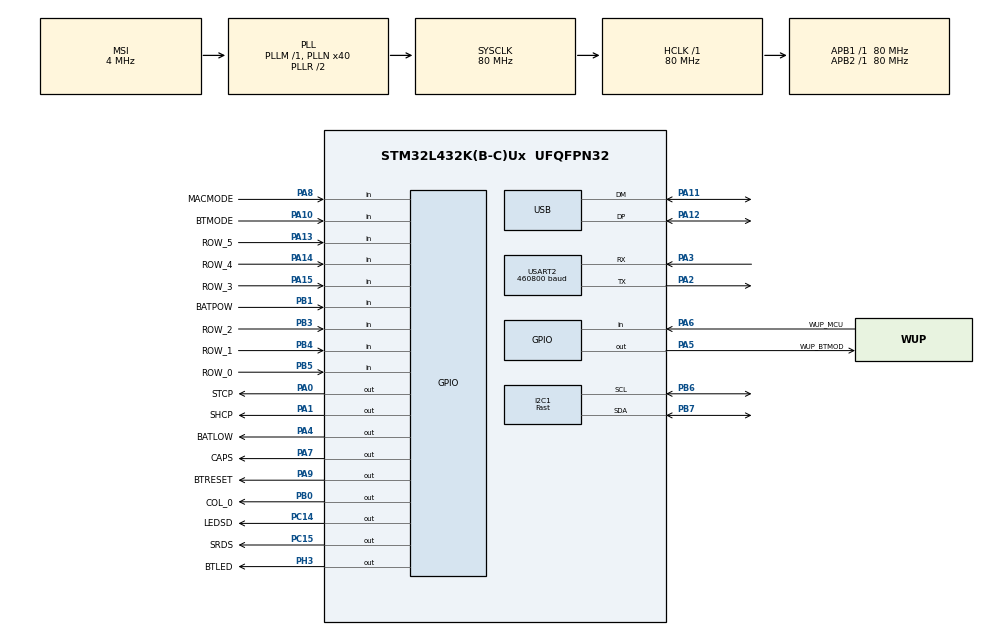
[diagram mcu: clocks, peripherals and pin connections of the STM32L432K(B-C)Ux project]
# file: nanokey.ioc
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I2C1.CustomTiming=Disabled
I2C1.I2C_Speed_Mode=I2C_Fast
I2C1.Timing=0x00F12981
Mcu.Family=STM32L4
Mcu.Name=STM32L432K(B-C)Ux
Mcu.Package=UFQFPN32
NVIC.FLASH_IRQn=true\:0\:0\:true\:false\:true\:true\:true\:true
NVIC.PriorityGroup=NVIC_PRIORITYGROUP_4
NVIC.USART2_IRQn=true\:0\:0\:true\:false\:true\:true\:true\:true
NVIC.USB_IRQn=true\:0\:0\:false\:false\:true\:true\:true\:true
PA0.GPIO_Label=STCP
PA0.Signal=GPIO_Output
PA1.GPIO_Label=SHCP
PA1.Signal=GPIO_Output
PA10.GPIO_Label=BTMODE
PA10.GPIO_PuPd=GPIO_NOPULL
PA10.Signal=GPIO_Input
PA11.Mode=Device
PA11.Signal=USB_DM
PA12.Mode=Device
PA12.Signal=USB_DP
PA13\ (JTMS-SWDIO).GPIO_Label=ROW_5
PA13\ (JTMS-SWDIO).GPIO_PuPd=GPIO_PULLUP
PA13\ (JTMS-SWDIO).Signal=GPIO_Input
PA14\ (JTCK-SWCLK).GPIO_Label=ROW_4
PA14\ (JTCK-SWCLK).GPIO_PuPd=GPIO_PULLUP
PA14\ (JTCK-SWCLK).Signal=GPIO_Input
PA15\ (JTDI).GPIO_Label=ROW_3
PA15\ (JTDI).GPIO_PuPd=GPIO_PULLUP
PA15\ (JTDI).Signal=GPIO_Input
PA2.Mode=Asynchronous
PA2.Signal=USART2_TX
PA3.Mode=Asynchronous
PA3.Signal=USART2_RX
PA4.GPIO_Label=BATLOW
PA4.Signal=GPIO_Output
PA5.GPIO_Label=WUP_BTMOD
PA5.Signal=GPIO_Output
PA6.GPIO_Label=WUP_MCU
PA6.Signal=GPIO_Input
PA7.GPIO_Label=CAPS
PA7.Signal=GPIO_Output
PA8.GPIO_Label=MACMODE
PA8.GPIO_PuPd=GPIO_PULLUP
PA8.Signal=GPIO_Input
PA9.GPIO_Label=BTRESET
PA9.GPIO_ModeDefaultOutputPP=GPIO_MODE_OUTPUT_OD
PA9.GPIO_PuPd=GPIO_PULLUP
PA9.PinState=GPIO_PIN_SET
PA9.Signal=GPIO_Output
PB0.GPIO_Label=COL_0
PB0.GPIO_ModeDefaultOutputPP=GPIO_MODE_OUTPUT_OD
PB0.GPIO_PuPd=GPIO_NOPULL
PB0.GPIO_Speed=GPIO_SPEED_FREQ_VERY_HIGH
PB0.PinState=GPIO_PIN_SET
PB0.Signal=GPIO_Output
PB1.GPIO_Label=BATPOW
PB1.GPIO_PuPd=GPIO_PULLUP
PB1.Signal=GPIO_Input
PB3\ (JTDO-TRACESWO).GPIO_Label=ROW_2
PB3\ (JTDO-TRACESWO).GPIO_PuPd=GPIO_PULLUP
PB3\ (JTDO-TRACESWO).Signal=GPIO_Input
PB4\ (NJTRST).GPIO_Label=ROW_1
PB4\ (NJTRST).GPIO_PuPd=GPIO_PULLUP
PB4\ (NJTRST).Signal=GPIO_Input
PB5.GPIO_Label=ROW_0
PB5.GPIO_PuPd=GPIO_PULLUP
PB5.Signal=GPIO_Input
PB6.Mode=I2C
PB6.Signal=I2C1_SCL
PB7.Mode=I2C
PB7.Signal=I2C1_SDA
PC14-OSC32_IN\ (PC14).GPIO_Label=LEDSD
PC14-OSC32_IN\ (PC14).GPIO_PuPd=GPIO_NOPULL
PC14-OSC32_IN\ (PC14).Signal=GPIO_Output
PC15-OSC32_OUT\ (PC15).GPIO_Label=SRDS
PC15-OSC32_OUT\ (PC15).Signal=GPIO_Output
PH3-BOOT0.GPIO_Label=BTLED
PH3-BOOT0.Signal=GPIO_Output
ProjectManager.HeapSize=0x200
ProjectManager.StackSize=0x400
ProjectManager.TargetToolchain=CMake
RCC.ADCFreq_Value=48000000
RCC.AHBFreq_Value=80000000
RCC.APB1Freq_Value=80000000
RCC.APB1TimFreq_Value=80000000
RCC.APB2Freq_Value=80000000
RCC.APB2TimFreq_Value=80000000
RCC.CortexFreq_Value=80000000
RCC.HCLKFreq_Value=80000000
RCC.HSE_VALUE=8000000
RCC.HSI48_VALUE=48000000
RCC.HSI_VALUE=16000000
RCC.LSE_VALUE=32768
RCC.MSI_VALUE=4000000
RCC.PLLN=40
RCC.PLLSAI1N=24
RCC.SYSCLKFreq_VALUE=80000000
RCC.SYSCLKSource=RCC_SYSCLKSOURCE_PLLCLK
RCC.USBFreq_Value=48000000
RCC.VCOOutputFreq_Value=160000000
USART2.BaudRate=460800
USART2.VirtualMode-Asynchronous=VM_ASYNC
VP_RNG_VS_RNG.Mode=RNG_Activate
board=custom

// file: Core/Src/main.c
/* USER CODE BEGIN Header */
/**
 ******************************************************************************
 * @file           : main.c
 * @brief          : Main program body
 ******************************************************************************
 * @attention
 *
 * Copyright (c) 2025 STMicroelectronics.
 * All rights reserved.
 *
 * This software is licensed under terms that can be found in the LICENSE file
 * in the root directory of this software component.
 * If no LICENSE file comes with this software, it is provided AS-IS.
 *
 ******************************************************************************
 */
/* USER CODE END Header */
#include "main.h"

/* USER CODE BEGIN Includes */

#include "../../firmware.h"
#include "../../hal.h"
#include "../../keyboardhid.h"
#include "usbd_core.h"
#include "usbd_desc.h"

/* USER CODE END Includes */

I2C_HandleTypeDef hi2c1;

RNG_HandleTypeDef hrng;

UART_HandleTypeDef huart2;

PCD_HandleTypeDef hpcd_USB_FS;

/* USER CODE BEGIN PV */
extern USBD_DescriptorsTypeDef FS_Desc;
USBD_HandleTypeDef hUsbDeviceFS;

/* USER CODE END PV */

void SystemClock_Config(void);
void PeriphCommonClock_Config(void);
static void MX_GPIO_Init(void);
static void MX_I2C1_Init(void);
static void MX_RNG_Init(void);
static void MX_USB_PCD_Init(void);
static void MX_USART2_UART_Init(void);

int main(void)
{

    /* MCU Configuration--------------------------------------------------------*/

    /* Reset of all peripherals, Initializes the Flash interface and the Systick. */
    HAL_Init();

    /* Configure the system clock */
    SystemClock_Config();

    /* Configure the peripherals common clocks */
    PeriphCommonClock_Config();

    /* Initialize all configured peripherals */
    MX_GPIO_Init();
    MX_I2C1_Init();
    MX_RNG_Init();
    MX_USB_PCD_Init();
    MX_USART2_UART_Init();
    /* USER CODE BEGIN 2 */

    hUsbDeviceFS.pData = &hpcd_USB_FS;
    hpcd_USB_FS.pData  = &hUsbDeviceFS;

    // Init USB device
    if (USBD_Init(&hUsbDeviceFS, &FS_Desc, DEVICE_FS) != USBD_OK) Error_Handler();
    if (USBD_RegisterClass(&hUsbDeviceFS, &USBD_HID) != USBD_OK) Error_Handler();
    if (USBD_Start(&hUsbDeviceFS) != USBD_OK) Error_Handler();

    setupInstructions inst = {.i2ch = &hi2c1, .rngh = &hrng, .usbdh = &hUsbDeviceFS, .uarth = &huart2};
    startup(inst);

    /* USER CODE END 2 */

    /* Infinite loop */
    while (1)
    {

        /* USER CODE BEGIN 3 */
        loop();
    }

    /* USER CODE END 3 */
}

void SystemClock_Config(void)
{
    RCC_OscInitTypeDef RCC_OscInitStruct = {0};
    RCC_ClkInitTypeDef RCC_ClkInitStruct = {0};

    /** Configure the main internal regulator output voltage
     */
    if (HAL_PWREx_ControlVoltageScaling(PWR_REGULATOR_VOLTAGE_SCALE1) != HAL_OK)
    {
        Error_Handler();
    }

    /** Initializes the RCC Oscillators according to the specified parameters
     * in the RCC_OscInitTypeDef structure.
     */
    RCC_OscInitStruct.OscillatorType      = RCC_OSCILLATORTYPE_MSI;
    RCC_OscInitStruct.MSIState            = RCC_MSI_ON;
    RCC_OscInitStruct.MSICalibrationValue = 0;
    RCC_OscInitStruct.MSIClockRange       = RCC_MSIRANGE_6;
    RCC_OscInitStruct.PLL.PLLState        = RCC_PLL_ON;
    RCC_OscInitStruct.PLL.PLLSource       = RCC_PLLSOURCE_MSI;
    RCC_OscInitStruct.PLL.PLLM            = 1;
    RCC_OscInitStruct.PLL.PLLN            = 40;
    RCC_OscInitStruct.PLL.PLLP            = RCC_PLLP_DIV7;
    RCC_OscInitStruct.PLL.PLLQ            = RCC_PLLQ_DIV2;
    RCC_OscInitStruct.PLL.PLLR            = RCC_PLLR_DIV2;
    if (HAL_RCC_OscConfig(&RCC_OscInitStruct) != HAL_OK)
    {
        Error_Handler();
    }

    /** Initializes the CPU, AHB and APB buses clocks
     */
    RCC_ClkInitStruct.ClockType =
        RCC_CLOCKTYPE_HCLK | RCC_CLOCKTYPE_SYSCLK | RCC_CLOCKTYPE_PCLK1 | RCC_CLOCKTYPE_PCLK2;
    RCC_ClkInitStruct.SYSCLKSource   = RCC_SYSCLKSOURCE_PLLCLK;
    RCC_ClkInitStruct.AHBCLKDivider  = RCC_SYSCLK_DIV1;
    RCC_ClkInitStruct.APB1CLKDivider = RCC_HCLK_DIV1;
    RCC_ClkInitStruct.APB2CLKDivider = RCC_HCLK_DIV1;

    if (HAL_RCC_ClockConfig(&RCC_ClkInitStruct, FLASH_LATENCY_4) != HAL_OK)
    {
        Error_Handler();
    }
}

void PeriphCommonClock_Config(void)
{
    RCC_PeriphCLKInitTypeDef PeriphClkInit = {0};

    /** Initializes the peripherals clock
     */
    PeriphClkInit.PeriphClockSelection    = RCC_PERIPHCLK_USB | RCC_PERIPHCLK_RNG;
    PeriphClkInit.UsbClockSelection       = RCC_USBCLKSOURCE_PLLSAI1;
    PeriphClkInit.RngClockSelection       = RCC_RNGCLKSOURCE_PLLSAI1;
    PeriphClkInit.PLLSAI1.PLLSAI1Source   = RCC_PLLSOURCE_MSI;
    PeriphClkInit.PLLSAI1.PLLSAI1M        = 1;
    PeriphClkInit.PLLSAI1.PLLSAI1N        = 24;
    PeriphClkInit.PLLSAI1.PLLSAI1P        = RCC_PLLP_DIV7;
    PeriphClkInit.PLLSAI1.PLLSAI1Q        = RCC_PLLQ_DIV2;
    PeriphClkInit.PLLSAI1.PLLSAI1R        = RCC_PLLR_DIV2;
    PeriphClkInit.PLLSAI1.PLLSAI1ClockOut = RCC_PLLSAI1_48M2CLK;
    if (HAL_RCCEx_PeriphCLKConfig(&PeriphClkInit) != HAL_OK)
    {
        Error_Handler();
    }
}

static void MX_I2C1_Init(void)
{

    hi2c1.Instance              = I2C1;
    hi2c1.Init.Timing           = 0x00F12981;
    hi2c1.Init.OwnAddress1      = 0;
    hi2c1.Init.AddressingMode   = I2C_ADDRESSINGMODE_7BIT;
    hi2c1.Init.DualAddressMode  = I2C_DUALADDRESS_DISABLE;
    hi2c1.Init.OwnAddress2      = 0;
    hi2c1.Init.OwnAddress2Masks = I2C_OA2_NOMASK;
    hi2c1.Init.GeneralCallMode  = I2C_GENERALCALL_DISABLE;
    hi2c1.Init.NoStretchMode    = I2C_NOSTRETCH_DISABLE;
    if (HAL_I2C_Init(&hi2c1) != HAL_OK)
    {
        Error_Handler();
    }

    /** Configure Analogue filter
     */
    if (HAL_I2CEx_ConfigAnalogFilter(&hi2c1, I2C_ANALOGFILTER_ENABLE) != HAL_OK)
    {
        Error_Handler();
    }

    /** Configure Digital filter
     */
    if (HAL_I2CEx_ConfigDigitalFilter(&hi2c1, 0) != HAL_OK)
    {
        Error_Handler();
    }
}

static void MX_RNG_Init(void)
{

    hrng.Instance = RNG;
    if (HAL_RNG_Init(&hrng) != HAL_OK)
    {
        Error_Handler();
    }
}

static void MX_USART2_UART_Init(void)
{

    huart2.Instance                    = USART2;
    huart2.Init.BaudRate               = 460800;
    huart2.Init.WordLength             = UART_WORDLENGTH_8B;
    huart2.Init.StopBits               = UART_STOPBITS_1;
    huart2.Init.Parity                 = UART_PARITY_NONE;
    huart2.Init.Mode                   = UART_MODE_TX_RX;
    huart2.Init.HwFlowCtl              = UART_HWCONTROL_NONE;
    huart2.Init.OverSampling           = UART_OVERSAMPLING_16;
    huart2.Init.OneBitSampling         = UART_ONE_BIT_SAMPLE_DISABLE;
    huart2.AdvancedInit.AdvFeatureInit = UART_ADVFEATURE_NO_INIT;
    if (HAL_UART_Init(&huart2) != HAL_OK)
    {
        Error_Handler();
    }
}

static void MX_USB_PCD_Init(void)
{

    hpcd_USB_FS.Instance                     = USB;
    hpcd_USB_FS.Init.dev_endpoints           = 8;
    hpcd_USB_FS.Init.speed                   = PCD_SPEED_FULL;
    hpcd_USB_FS.Init.phy_itface              = PCD_PHY_EMBEDDED;
    hpcd_USB_FS.Init.Sof_enable              = DISABLE;
    hpcd_USB_FS.Init.low_power_enable        = DISABLE;
    hpcd_USB_FS.Init.lpm_enable              = DISABLE;
    hpcd_USB_FS.Init.battery_charging_enable = DISABLE;
    if (HAL_PCD_Init(&hpcd_USB_FS) != HAL_OK)
    {
        Error_Handler();
    }
}

static void MX_GPIO_Init(void)
{
    GPIO_InitTypeDef GPIO_InitStruct = {0};

    /* GPIO Ports Clock Enable */
    __HAL_RCC_GPIOC_CLK_ENABLE();
    __HAL_RCC_GPIOA_CLK_ENABLE();
    __HAL_RCC_GPIOB_CLK_ENABLE();
    __HAL_RCC_GPIOH_CLK_ENABLE();

    /*Configure GPIO pin Output Level */
    HAL_GPIO_WritePin(GPIOC, LEDSD_Pin | SRDS_Pin, GPIO_PIN_RESET);

    /*Configure GPIO pin Output Level */
    HAL_GPIO_WritePin(GPIOA, STCP_Pin | SHCP_Pin | BATLOW_Pin | WUP_BTMOD_Pin | CAPS_Pin, GPIO_PIN_RESET);

    /*Configure GPIO pin Output Level */
    HAL_GPIO_WritePin(COL_0_GPIO_Port, COL_0_Pin, GPIO_PIN_SET);

    /*Configure GPIO pin Output Level */
    HAL_GPIO_WritePin(BTRESET_GPIO_Port, BTRESET_Pin, GPIO_PIN_SET);

    /*Configure GPIO pin Output Level */
    HAL_GPIO_WritePin(BTLED_GPIO_Port, BTLED_Pin, GPIO_PIN_RESET);

    /*Configure GPIO pins : LEDSD_Pin SRDS_Pin */
    GPIO_InitStruct.Pin   = LEDSD_Pin | SRDS_Pin;
    GPIO_InitStruct.Mode  = GPIO_MODE_OUTPUT_PP;
    GPIO_InitStruct.Pull  = GPIO_NOPULL;
    GPIO_InitStruct.Speed = GPIO_SPEED_FREQ_LOW;
    HAL_GPIO_Init(GPIOC, &GPIO_InitStruct);

    /*Configure GPIO pins : STCP_Pin SHCP_Pin BATLOW_Pin WUP_BTMOD_Pin
                             CAPS_Pin */
    GPIO_InitStruct.Pin   = STCP_Pin | SHCP_Pin | BATLOW_Pin | WUP_BTMOD_Pin | CAPS_Pin;
    GPIO_InitStruct.Mode  = GPIO_MODE_OUTPUT_PP;
    GPIO_InitStruct.Pull  = GPIO_NOPULL;
    GPIO_InitStruct.Speed = GPIO_SPEED_FREQ_LOW;
    HAL_GPIO_Init(GPIOA, &GPIO_InitStruct);

    /*Configure GPIO pins : WUP_MCU_Pin BTMODE_Pin */
    GPIO_InitStruct.Pin  = WUP_MCU_Pin | BTMODE_Pin;
    GPIO_InitStruct.Mode = GPIO_MODE_INPUT;
    GPIO_InitStruct.Pull = GPIO_NOPULL;
    HAL_GPIO_Init(GPIOA, &GPIO_InitStruct);

    /*Configure GPIO pin : COL_0_Pin */
    GPIO_InitStruct.Pin   = COL_0_Pin;
    GPIO_InitStruct.Mode  = GPIO_MODE_OUTPUT_OD;
    GPIO_InitStruct.Pull  = GPIO_NOPULL;
    GPIO_InitStruct.Speed = GPIO_SPEED_FREQ_VERY_HIGH;
    HAL_GPIO_Init(COL_0_GPIO_Port, &GPIO_InitStruct);

    /*Configure GPIO pins : BATPOW_Pin ROW_2_Pin ROW_1_Pin ROW_0_Pin */
    GPIO_InitStruct.Pin  = BATPOW_Pin | ROW_2_Pin | ROW_1_Pin | ROW_0_Pin;
    GPIO_InitStruct.Mode = GPIO_MODE_INPUT;
    GPIO_InitStruct.Pull = GPIO_PULLUP;
    HAL_GPIO_Init(GPIOB, &GPIO_InitStruct);

    /*Configure GPIO pins : MACMODE_Pin ROW_5_Pin ROW_4_Pin ROW_3_Pin */
    GPIO_InitStruct.Pin  = MACMODE_Pin | ROW_5_Pin | ROW_4_Pin | ROW_3_Pin;
    GPIO_InitStruct.Mode = GPIO_MODE_INPUT;
    GPIO_InitStruct.Pull = GPIO_PULLUP;
    HAL_GPIO_Init(GPIOA, &GPIO_InitStruct);

    /*Configure GPIO pin : BTRESET_Pin */
    GPIO_InitStruct.Pin   = BTRESET_Pin;
    GPIO_InitStruct.Mode  = GPIO_MODE_OUTPUT_OD;
    GPIO_InitStruct.Pull  = GPIO_PULLUP;
    GPIO_InitStruct.Speed = GPIO_SPEED_FREQ_LOW;
    HAL_GPIO_Init(BTRESET_GPIO_Port, &GPIO_InitStruct);

    /*Configure GPIO pin : BTLED_Pin */
    GPIO_InitStruct.Pin   = BTLED_Pin;
    GPIO_InitStruct.Mode  = GPIO_MODE_OUTPUT_PP;
    GPIO_InitStruct.Pull  = GPIO_NOPULL;
    GPIO_InitStruct.Speed = GPIO_SPEED_FREQ_LOW;
    HAL_GPIO_Init(BTLED_GPIO_Port, &GPIO_InitStruct);

}

void Error_Handler(void)
{
    __disable_irq();
    while (1)
    {
    }
}
